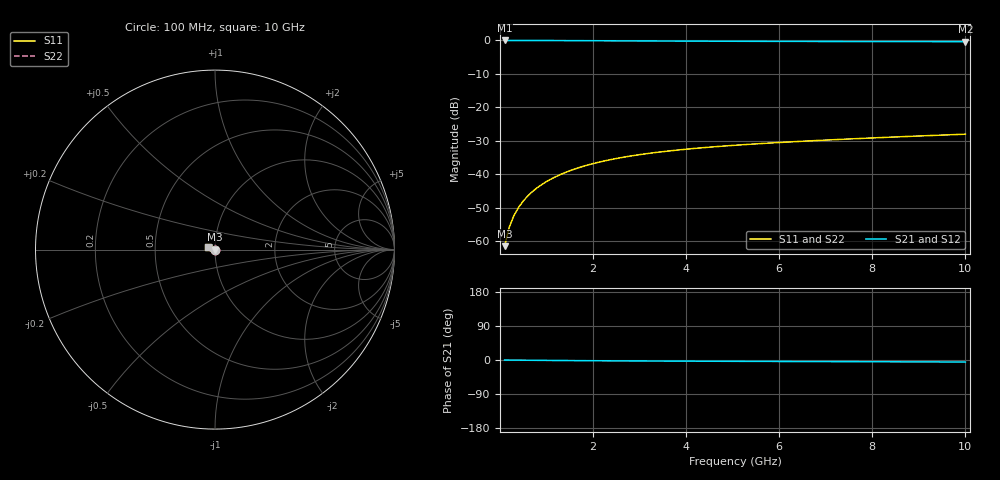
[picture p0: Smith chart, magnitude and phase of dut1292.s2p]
! Touchstone file exported from HFSS 2024.1.0
!  File:  C:/UserFiles/LocalFiles/RDL_TSV_Batchsim/temp_TSV1_1292_1780256355.aedt
!  Generated:  03:44:09 AM Jun  1, 2026
!  Design:  TSV1
!  Project:  temp_TSV1_1292_1780256355
!  Setup:  Setup1
!  Solution:  Sweep
! Variables:
!  dtsv = 7.03um
!  hbump = 3um
!  htsv = 80.12um
!  lrdl = 252.1521522um
!  p = 40
!  p1 = 49.77um
!  t = 500um
!  trdl = 3um
!  wrdl = 24.89489489um
# GHz S MA R 50.000000
! Terminal data exported
! Port[1] = TSV22_T1
! Port[2] = TSV22_T2
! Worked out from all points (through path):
!   100 points, 100 MHz to 10 GHz, reference 50 ohm
!   highest |S21| = 0.00 dB at 100 MHz (marker M1); lowest = -0.4 dB at 10 GHz (marker M2)
!   lowest |S11| = -61.5 dB at 100 MHz (marker M3), VSWR 1.00, Z = 50 - j0.0795 ohm
!   |S11| at or under -10 dB: start of sweep to end of sweep
!   |S22| runs from -61.5 to -28.0 dB; largest |S21 - S12| = 9.6e-15
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0.1  0.0008367 -71.7  0.9997 -0.1  0.9997 -0.1  0.0008367 -71.7
! Gamma 0 0 0 0
! Port Impedance 50 0 50 0
0.2  0.001612 -83.6  0.9996 -0.2  0.9996 -0.2  0.001612 -83.6
0.3  0.002397 -89.1  0.9994 -0.3  0.9994 -0.3  0.002397 -89.1
0.4  0.003181 -92.8  0.9992 -0.4  0.9992 -0.4  0.003181 -92.8
0.5  0.003961 -95.9  0.999 -0.5  0.999 -0.5  0.003961 -95.9
0.6  0.004735 -98.6  0.9987 -0.6  0.9987 -0.6  0.004735 -98.6
0.7  0.005501 -101.1  0.9983 -0.7  0.9983 -0.7  0.005501 -101.1
0.8  0.006259 -103.4  0.9979 -0.9  0.9979 -0.9  0.006259 -103.4
0.9  0.007006 -105.7  0.9975 -1.0  0.9975 -1.0  0.007006 -105.7
1.1  0.008468 -110.0  0.9964 -1.1  0.9964 -1.1  0.008468 -110.0
1.4  0.01056 -116.0  0.9947 -1.4  0.9947 -1.4  0.01056 -116.0
1.6  0.01189 -119.8  0.9934 -1.6  0.9934 -1.6  0.01189 -119.8
1.8  0.01316 -123.5  0.992 -1.8  0.992 -1.8  0.01316 -123.5
2.1  0.01495 -128.8  0.9899 -2.0  0.9899 -2.0  0.01495 -128.8
2.5  0.01714 -135.4  0.987 -2.3  0.987 -2.3  0.01714 -135.4
2.9  0.01911 -141.6  0.9841 -2.5  0.9841 -2.5  0.01911 -141.6
3.4  0.0213 -148.6  0.9808 -2.8  0.9808 -2.8  0.0213 -148.6
4.2  0.02432 -158.7  0.9762 -3.1  0.9762 -3.1  0.02432 -158.7
5.1  0.0272 -168.4  0.9719 -3.5  0.9719 -3.5  0.0272 -168.4
6.7  0.03157 177.4  0.9663 -4.1  0.9663 -4.1  0.03157 177.4
8.4  0.03576 165.4  0.9623 -4.7  0.9623 -4.7  0.03576 165.4
10  0.0396 156.2  0.9597 -5.3  0.9597 -5.3  0.0396 156.2
